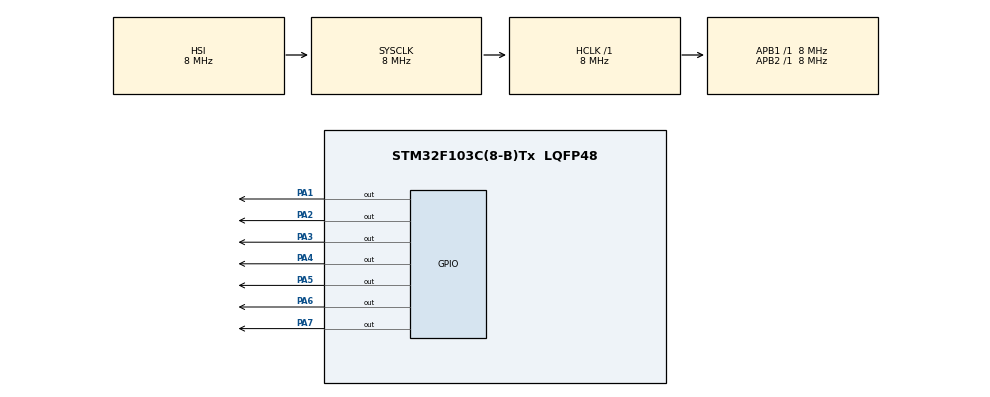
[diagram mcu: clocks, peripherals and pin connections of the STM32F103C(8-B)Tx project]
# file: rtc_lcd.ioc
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Mcu.Family=STM32F1
Mcu.Name=STM32F103C(8-B)Tx
Mcu.Package=LQFP48
NVIC.PriorityGroup=NVIC_PRIORITYGROUP_4
NVIC.RTC_IRQn=true\:0\:0\:false\:false\:true\:true\:true
PA1.Signal=GPIO_Output
PA2.Signal=GPIO_Output
PA3.Signal=GPIO_Output
PA4.Signal=GPIO_Output
PA5.Signal=GPIO_Output
PA6.Signal=GPIO_Output
PA7.Signal=GPIO_Output
PD0-OSC_IN.Mode=HSE-External-Oscillator
PD0-OSC_IN.Signal=RCC_OSC_IN
PD1-OSC_OUT.Mode=HSE-External-Oscillator
PD1-OSC_OUT.Signal=RCC_OSC_OUT
ProjectManager.HeapSize=0x200
ProjectManager.StackSize=0x400
ProjectManager.TargetToolchain=STM32CubeIDE
RCC.AHBFreq_Value=8000000
RCC.APB1Freq_Value=8000000
RCC.APB1TimFreq_Value=8000000
RCC.APB2Freq_Value=8000000
RCC.APB2TimFreq_Value=8000000
RCC.HCLKFreq_Value=8000000
RCC.SYSCLKFreq_VALUE=8000000
RCC.USBFreq_Value=8000000
RTC.Date=5
RTC.Hours=10
RTC.Minutes=20
RTC.Month=RTC_MONTH_SEPTEMBER
RTC.Seconds=30
RTC.WeekDay=RTC_WEEKDAY_THURSDAY
VP_RTC_VS_RTC_Activate.Mode=RTC_Enabled
VP_RTC_VS_RTC_Calendar.Mode=RTC_Calendar
VP_SYS_VS_ND.Mode=No_Debug
board=custom

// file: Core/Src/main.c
/* USER CODE BEGIN Header */
/**
  ******************************************************************************
  * @file           : main.c
  * @brief          : Main program body
  ******************************************************************************
  * @attention
  *
  * <h2><center>&copy; Copyright (c) 2024 STMicroelectronics.
  * All rights reserved.</center></h2>
  *
  * This software component is licensed by ST under BSD 3-Clause license,
  * the "License"; You may not use this file except in compliance with the
  * License. You may obtain a copy of the License at:
  *                        opensource.org/licenses/BSD-3-Clause
  *
  ******************************************************************************
  */
/* USER CODE END Header */
#include "main.h"
#include<stdio.h>
#include "lcd.h"

/* USER CODE BEGIN Includes */
//pppppp
//858
//lkn

/* USER CODE END Includes */

RTC_HandleTypeDef hrtc;

/* USER CODE BEGIN PV */
char time[20];
char date[20];

/* USER CODE END PV */

void SystemClock_Config(void);
static void MX_GPIO_Init(void);
static void MX_RTC_Init(void);

/* USER CODE BEGIN 0 */

void get_time(void)
{
	RTC_DateTypeDef gDate;
	RTC_TimeTypeDef gTime;
	HAL_RTC_GetTime(&hrtc, &gTime, RTC_FORMAT_BIN);
    HAL_RTC_GetDate(&hrtc, &gDate, RTC_FORMAT_BIN);

    sprintf((char*)time,"%02d.%02d.%02d",gTime.Hours,gTime.Minutes,gTime.Seconds);

    sprintf((char*)date,"%02d.%02d.%02d",gDate.Date,gDate.Month, 2000 + gDate.Year);
}

void display_time(void)
{

	lcd_put_cur(0,4);
	lcd_send_string(time);

	lcd_put_cur(1,3);
	lcd_send_string(date);
}
/* USER CODE END 0 */

int main(void)
{

  /* MCU Configuration--------------------------------------------------------*/

  /* Reset of all peripherals, Initializes the Flash interface and the Systick. */
  HAL_Init();

  /* Configure the system clock */
  SystemClock_Config();

  /* Initialize all configured peripherals */
  MX_GPIO_Init();
  MX_RTC_Init();
  /* USER CODE BEGIN 2 */
  lcd_init();

  /* USER CODE END 2 */

  /* Infinite loop */
  while (1)
  {

    /* USER CODE BEGIN 3 */
	  get_time();
	  display_time();
	  HAL_Delay(500);
  }
  /* USER CODE END 3 */
}

void SystemClock_Config(void)
{
  RCC_OscInitTypeDef RCC_OscInitStruct = {0};
  RCC_ClkInitTypeDef RCC_ClkInitStruct = {0};
  RCC_PeriphCLKInitTypeDef PeriphClkInit = {0};

  /** Initializes the RCC Oscillators according to the specified parameters
  * in the RCC_OscInitTypeDef structure.
  */
  RCC_OscInitStruct.OscillatorType = RCC_OSCILLATORTYPE_HSI|RCC_OSCILLATORTYPE_LSI;
  RCC_OscInitStruct.HSIState = RCC_HSI_ON;
  RCC_OscInitStruct.HSICalibrationValue = RCC_HSICALIBRATION_DEFAULT;
  RCC_OscInitStruct.LSIState = RCC_LSI_ON;
  RCC_OscInitStruct.PLL.PLLState = RCC_PLL_NONE;
  if (HAL_RCC_OscConfig(&RCC_OscInitStruct) != HAL_OK)
  {
    Error_Handler();
  }
  /** Initializes the CPU, AHB and APB buses clocks
  */
  RCC_ClkInitStruct.ClockType = RCC_CLOCKTYPE_HCLK|RCC_CLOCKTYPE_SYSCLK
                              |RCC_CLOCKTYPE_PCLK1|RCC_CLOCKTYPE_PCLK2;
  RCC_ClkInitStruct.SYSCLKSource = RCC_SYSCLKSOURCE_HSI;
  RCC_ClkInitStruct.AHBCLKDivider = RCC_SYSCLK_DIV1;
  RCC_ClkInitStruct.APB1CLKDivider = RCC_HCLK_DIV1;
  RCC_ClkInitStruct.APB2CLKDivider = RCC_HCLK_DIV1;

  if (HAL_RCC_ClockConfig(&RCC_ClkInitStruct, FLASH_LATENCY_0) != HAL_OK)
  {
    Error_Handler();
  }
  PeriphClkInit.PeriphClockSelection = RCC_PERIPHCLK_RTC;
  PeriphClkInit.RTCClockSelection = RCC_RTCCLKSOURCE_LSI;
  if (HAL_RCCEx_PeriphCLKConfig(&PeriphClkInit) != HAL_OK)
  {
    Error_Handler();
  }
}

static void MX_RTC_Init(void)
{

  RTC_TimeTypeDef sTime = {0};
  RTC_DateTypeDef DateToUpdate = {0};

  /** Initialize RTC Only
  */
  hrtc.Instance = RTC;
  hrtc.Init.AsynchPrediv = RTC_AUTO_1_SECOND;
  hrtc.Init.OutPut = RTC_OUTPUTSOURCE_ALARM;
  if (HAL_RTC_Init(&hrtc) != HAL_OK)
  {
    Error_Handler();
  }

  /** Initialize RTC and set the Time and Date
  */
  sTime.Hours = 0x03;
  sTime.Minutes = 0x44;
  sTime.Seconds = 0x30;

  if (HAL_RTC_SetTime(&hrtc, &sTime, RTC_FORMAT_BCD) != HAL_OK)
  {
    Error_Handler();
  }
  DateToUpdate.WeekDay = RTC_WEEKDAY_TUESDAY;
  DateToUpdate.Month = RTC_MONTH_SEPTEMBER;
  DateToUpdate.Date = 0x17;
  DateToUpdate.Year = 0x24;

  if (HAL_RTC_SetDate(&hrtc, &DateToUpdate, RTC_FORMAT_BCD) != HAL_OK)
  {
    Error_Handler();
  }
  /* USER CODE BEGIN RTC_Init 2 */
  HAL_RTCEx_BKUPWrite(&hrtc, RTC_BKP_DR1, 0x2345);

  /* USER CODE END RTC_Init 2 */

}

static void MX_GPIO_Init(void)
{
  GPIO_InitTypeDef GPIO_InitStruct = {0};

  /* GPIO Ports Clock Enable */
  __HAL_RCC_GPIOD_CLK_ENABLE();
  __HAL_RCC_GPIOA_CLK_ENABLE();

  /*Configure GPIO pin Output Level */
  HAL_GPIO_WritePin(GPIOA, GPIO_PIN_1|GPIO_PIN_2|GPIO_PIN_3|GPIO_PIN_4
                          |GPIO_PIN_5|GPIO_PIN_6|GPIO_PIN_7, GPIO_PIN_RESET);

  /*Configure GPIO pins : PA1 PA2 PA3 PA4
                           PA5 PA6 PA7 */
  GPIO_InitStruct.Pin = GPIO_PIN_1|GPIO_PIN_2|GPIO_PIN_3|GPIO_PIN_4
                          |GPIO_PIN_5|GPIO_PIN_6|GPIO_PIN_7;
  GPIO_InitStruct.Mode = GPIO_MODE_OUTPUT_PP;
  GPIO_InitStruct.Pull = GPIO_NOPULL;
  GPIO_InitStruct.Speed = GPIO_SPEED_FREQ_LOW;
  HAL_GPIO_Init(GPIOA, &GPIO_InitStruct);

}

void Error_Handler(void)
{
  __disable_irq();
  while (1)
  {
  }
}

/************************ (C) COPYRIGHT STMicroelectronics *****END OF FILE****/
